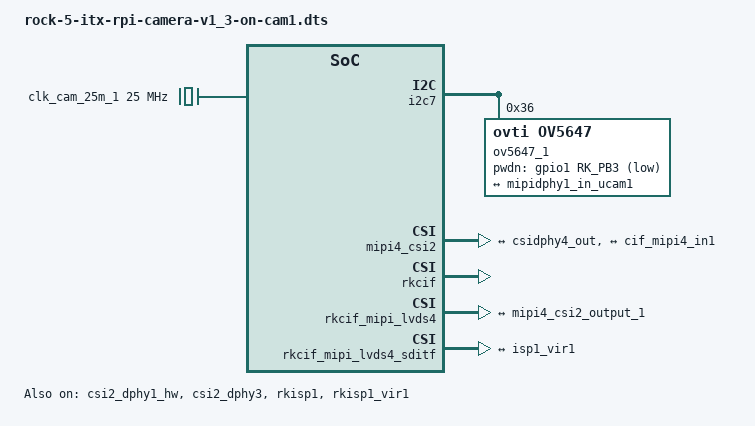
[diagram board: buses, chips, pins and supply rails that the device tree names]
/dts-v1/;
/plugin/;

#include <dt-bindings/gpio/gpio.h>
#include <dt-bindings/pinctrl/rockchip.h>

/ {
	metadata {
		title ="Enable Raspberry Pi Camera v1.3 on CAM1";
		compatible = "radxa,rock-5-itx";
		category = "camera";
		exclusive = "csi2_dphy3";
		description = "Enable Raspberry Pi Camera v1.3 on CAM1.";
	};
};

&{/} {
	clk_cam_25m_1: external-camera-clock-25m-1 {
		status = "okay";
		compatible = "fixed-clock";
		clock-frequency = <25000000>;
		clock-output-names = "clk_cam_25m_1";
		#clock-cells = <0>;
	};
};

&i2c7 {
	status = "okay";
	#address-cells = <1>;
	#size-cells = <0>;

	ov5647_1: ov5647-1@36 {
		status = "okay";
		compatible = "ovti,ov5647";
		reg = <0x36>;
		clocks = <&clk_cam_25m_1>;
		pwdn-gpios = <&gpio1 RK_PB3 GPIO_ACTIVE_LOW>;
		clock-names = "ext_cam_clk";
		rockchip,camera-module-index = <1>;
		rockchip,camera-module-facing = "front";
		rockchip,camera-module-name = "rpi-camera-v1p3";
		rockchip,camera-module-lens-name = "default";

		port {
			ov5647_out1: endpoint {
				remote-endpoint = <&mipidphy1_in_ucam1>;
				data-lanes = <1 2>;
			};
		};
	};
};

&csi2_dphy1_hw {
	status = "okay";
};

&csi2_dphy3 {
	status = "okay";

	ports {
		#address-cells = <1>;
		#size-cells = <0>;

		port@0 {
			reg = <0>;
			#address-cells = <1>;
			#size-cells = <0>;

			mipidphy1_in_ucam1: endpoint@1 {
				reg = <1>;
				remote-endpoint = <&ov5647_out1>;
				data-lanes = <1 2>;
			};
		};

		port@1 {
			reg = <1>;
			#address-cells = <1>;
			#size-cells = <0>;

			csidphy4_out: endpoint@0 {
				reg = <0>;
				remote-endpoint = <&mipi4_csi2_input_1>;
			};
		};
	};
};

&mipi4_csi2 {
	status = "okay";

	ports {
		#address-cells = <1>;
		#size-cells = <0>;

		port@0 {
			reg = <0>;
			#address-cells = <1>;
			#size-cells = <0>;

			mipi4_csi2_input_1: endpoint@1 {
				reg = <1>;
				remote-endpoint = <&csidphy4_out>;
			};
		};

		port@1 {
			reg = <1>;
			#address-cells = <1>;
			#size-cells = <0>;

			mipi4_csi2_output_1: endpoint@0 {
				reg = <0>;
				remote-endpoint = <&cif_mipi4_in1>;
			};
		};
	};
};

&rkcif {
	status = "okay";
};

&rkcif_mipi_lvds4 {
	status = "okay";

	port {
		cif_mipi4_in1: endpoint {
			remote-endpoint = <&mipi4_csi2_output_1>;
		};
	};
};

&rkcif_mipi_lvds4_sditf {
	status = "okay";

	port {
		mipi4_lvds2_sditf_1: endpoint {
			remote-endpoint = <&isp1_vir1>;
		};
	};
};

&rkcif_mmu {
	status = "okay";
};

&isp1_mmu {
	status = "okay";
};

&rkisp1 {
	status = "okay";
};

&rkisp1_vir1 {
	status = "okay";

	port {
		#address-cells = <1>;
		#size-cells = <0>;

		isp1_vir1: endpoint@0 {
			reg = <0>;
			remote-endpoint = <&mipi4_lvds2_sditf_1>;
		};
	};
};
